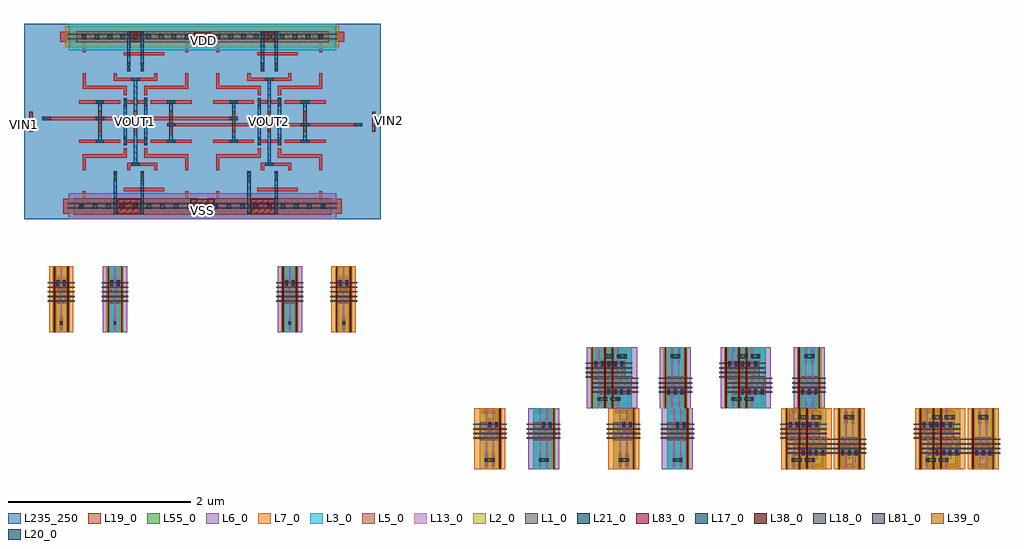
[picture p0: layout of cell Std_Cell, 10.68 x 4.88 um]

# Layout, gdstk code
from math import pi, radians
import gdstk
lib = gdstk.Library(unit=1e-6, precision=1e-09)
def R(c, l, rs):  # rectangles x0, y0, x1, y1
    for r in rs: c.add(gdstk.rectangle(r[:2], r[2:], *l))
def A(c, l, x, y, w, h, nx, ny, dx, dy):  # array of equal rectangles
    R(c, l, [(x+i*dx, y+j*dy, x+i*dx+w, y+j*dy+h) for i in range(nx) for j in range(ny)])
L1_0 = (1, 0)
L2_0 = (2, 0)
L3_0 = (3, 0)
L5_0 = (5, 0)
L6_0 = (6, 0)
L7_0 = (7, 0)
L13_0 = (13, 0)
L17_0 = (17, 0)
L18_0 = (18, 0)
L19_0 = (19, 0)
L20_0 = (20, 0)
L21_0 = (21, 0)
L38_0 = (38, 0)
L39_0 = (39, 0)
L55_0 = (55, 0)
L81_0 = (81, 0)
L83_0 = (83, 0)
L235_250 = (235, 250)

pfet_manual_l1r1_480f = lib.new_cell('pfet_manual_l1r1_480f')
A(pfet_manual_l1r1_480f, L1_0, -0.14, 0, 0.368, 0.014, 1, 4, 0, 0.05)
R(pfet_manual_l1r1_480f, L3_0, [(-0.067,-0.333,0.155,0.335)])
R(pfet_manual_l1r1_480f, L5_0, [(-0.067,-0.018,0,0.182), (0,-0.018,0.088,0.182), (0.088,-0.018,0.155,0.182)])
R(pfet_manual_l1r1_480f, L6_0, [(-0.126,-0.333,0.214,0.335)])
R(pfet_manual_l1r1_480f, L13_0, [(0,-0.333,0.014,0.335)])
R(pfet_manual_l1r1_480f, L17_0, [(0.029,0.125,0.059,0.182), (0.103,0.125,0.133,0.182)])
R(pfet_manual_l1r1_480f, L18_0, [(0,-0.254,0.044,-0.214), (0.034,-0.254,0.098,-0.214)])
R(pfet_manual_l1r1_480f, L19_0, [(-0.01,-0.308,0.024,-0.16), (-0.01,-0.308,0.024,-0.16), (0.064,-0.308,0.098,-0.16), (0.064,-0.308,0.098,-0.16), (0.101,0.074,0.135,0.276), (0.101,0.074,0.135,0.276), (0.027,0.076,0.061,0.224), (0.101,0.076,0.135,0.224), (0.027,0.08,0.061,0.22), (-0.047,0.276,0.044,0.31), (-0.047,0.276,0.044,0.31), (0.044,0.276,0.135,0.31), (0.044,0.276,0.135,0.31)])
R(pfet_manual_l1r1_480f, L55_0, [(-0.067,-0.333,0.155,0.335)])
R(pfet_manual_l1r1_480f, L81_0, [(-0.008,-0.249,0.022,-0.219), (0.066,-0.249,0.096,-0.219), (0.029,0.135,0.059,0.165), (0.103,0.135,0.133,0.165)])

pfet_manual_l1r0_480f = lib.new_cell('pfet_manual_l1r0_480f')
A(pfet_manual_l1r0_480f, L1_0, -0.14, 0, 0.368, 0.014, 1, 4, 0, 0.05)
R(pfet_manual_l1r0_480f, L2_0, [(0.136,-0.333,0.174,0.335)])
R(pfet_manual_l1r0_480f, L3_0, [(-0.067,-0.333,0.155,0.335)])
R(pfet_manual_l1r0_480f, L5_0, [(-0.067,-0.018,0,0.182), (0,-0.018,0.088,0.182), (0.088,-0.018,0.155,0.182)])
R(pfet_manual_l1r0_480f, L6_0, [(-0.126,-0.333,0.214,0.335)])
A(pfet_manual_l1r0_480f, L13_0, 0, -0.333, 0.014, 0.668, 3, 1, 0.074, 0)
R(pfet_manual_l1r0_480f, L13_0, [(0.148,-0.333,0.162,0.335)])
R(pfet_manual_l1r0_480f, L17_0, [(0.029,0.125,0.059,0.182), (0.103,0.125,0.133,0.182)])
R(pfet_manual_l1r0_480f, L18_0, [(0,-0.254,0.044,-0.214), (0.034,-0.254,0.098,-0.214)])
R(pfet_manual_l1r0_480f, L19_0, [(-0.01,-0.308,0.024,-0.16), (-0.01,-0.308,0.024,-0.16), (0.064,-0.308,0.098,-0.16), (0.064,-0.308,0.098,-0.16), (0.101,0.074,0.135,0.276), (0.101,0.074,0.135,0.276), (0.027,0.076,0.061,0.224), (0.101,0.076,0.135,0.224), (0.027,0.08,0.061,0.22), (-0.047,0.276,0.044,0.31), (-0.047,0.276,0.044,0.31), (0.044,0.276,0.135,0.31), (0.044,0.276,0.135,0.31)])
R(pfet_manual_l1r0_480f, L55_0, [(-0.067,-0.333,0.155,0.335)])
R(pfet_manual_l1r0_480f, L81_0, [(-0.008,-0.249,0.022,-0.219), (0.066,-0.249,0.096,-0.219), (0.029,0.135,0.059,0.165), (0.103,0.135,0.133,0.165)])
R(pfet_manual_l1r0_480f, L83_0, [(0.148,-0.333,0.162,0.335)])

nfet_pcell_0545 = lib.new_cell('nfet_pcell_0545')
A(nfet_pcell_0545, L1_0, -0.14, 0, 0.368, 0.014, 1, 4, 0, 0.05)
R(nfet_pcell_0545, L2_0, [(-0.086,-0.333,-0.048,0.335), (0.136,-0.333,0.174,0.335)])
R(nfet_pcell_0545, L5_0, [(-0.067,-0.018,0,0.182), (0,-0.018,0.088,0.182), (0.088,-0.018,0.155,0.182)])
R(nfet_pcell_0545, L7_0, [(-0.126,-0.333,0.214,0.335)])
A(nfet_pcell_0545, L13_0, -0.074, -0.333, 0.014, 0.668, 4, 1, 0.074, 0)
R(nfet_pcell_0545, L13_0, [(-0.074,-0.333,-0.06,0.335), (0.148,-0.333,0.162,0.335)])
A(nfet_pcell_0545, L17_0, -0.045, 0.125, 0.03, 0.057, 3, 1, 0.074, 0)
R(nfet_pcell_0545, L18_0, [(-0.01,-0.254,0.054,-0.214), (0.034,-0.254,0.098,-0.214)])
A(nfet_pcell_0545, L19_0, -0.047, 0.076, 0.034, 0.148, 3, 1, 0.074, 0)
R(nfet_pcell_0545, L19_0, [(-0.01,-0.308,0.024,-0.16), (-0.01,-0.308,0.024,-0.16), (0.064,-0.308,0.098,-0.16), (0.064,-0.308,0.098,-0.16), (-0.047,0.074,-0.013,0.276), (-0.047,0.074,-0.013,0.276), (0.101,0.074,0.135,0.276), (0.101,0.074,0.135,0.276), (0.027,0.08,0.061,0.22), (-0.047,0.276,0.044,0.31), (-0.047,0.276,0.044,0.31), (0.044,0.276,0.135,0.31), (0.044,0.276,0.135,0.31)])
R(nfet_pcell_0545, L55_0, [(-0.067,-0.333,0.155,0.335)])
A(nfet_pcell_0545, L81_0, -0.045, 0.135, 0.03, 0.03, 3, 1, 0.074, 0)
R(nfet_pcell_0545, L81_0, [(-0.008,-0.249,0.022,-0.219), (0.066,-0.249,0.096,-0.219)])
R(nfet_pcell_0545, L83_0, [(-0.074,-0.333,-0.06,0.335), (0.148,-0.333,0.162,0.335)])

nfet_manual_l1r1_0545 = lib.new_cell('nfet_manual_l1r1_0545')
A(nfet_manual_l1r1_0545, L1_0, -0.14, 0, 0.368, 0.014, 1, 4, 0, 0.05)
R(nfet_manual_l1r1_0545, L5_0, [(-0.067,-0.018,0,0.182), (0,-0.018,0.088,0.182), (0.088,-0.018,0.155,0.182)])
R(nfet_manual_l1r1_0545, L7_0, [(-0.126,-0.333,0.214,0.335)])
R(nfet_manual_l1r1_0545, L13_0, [(0,-0.333,0.014,0.335)])
R(nfet_manual_l1r1_0545, L17_0, [(0.029,0.125,0.059,0.182), (0.103,0.125,0.133,0.182)])
R(nfet_manual_l1r1_0545, L18_0, [(-0.01,-0.254,0.054,-0.214), (0.034,-0.254,0.098,-0.214)])
R(nfet_manual_l1r1_0545, L19_0, [(-0.01,-0.308,0.024,-0.16), (-0.01,-0.308,0.024,-0.16), (0.064,-0.308,0.098,-0.16), (0.064,-0.308,0.098,-0.16), (0.101,0.074,0.135,0.276), (0.101,0.074,0.135,0.276), (0.027,0.076,0.061,0.224), (0.101,0.076,0.135,0.224), (0.027,0.08,0.061,0.22), (-0.047,0.276,0.044,0.31), (-0.047,0.276,0.044,0.31), (0.044,0.276,0.135,0.31), (0.044,0.276,0.135,0.31)])
R(nfet_manual_l1r1_0545, L55_0, [(-0.067,-0.333,0.155,0.335)])
R(nfet_manual_l1r1_0545, L81_0, [(-0.008,-0.249,0.022,-0.219), (0.066,-0.249,0.096,-0.219), (0.029,0.135,0.059,0.165), (0.103,0.135,0.133,0.165)])

pfet_manual_l0r1_480f = lib.new_cell('pfet_manual_l0r1_480f')
A(pfet_manual_l0r1_480f, L1_0, -0.14, 0, 0.368, 0.014, 1, 4, 0, 0.05)
R(pfet_manual_l0r1_480f, L2_0, [(-0.086,-0.333,-0.048,0.335)])
R(pfet_manual_l0r1_480f, L3_0, [(-0.067,-0.333,0.155,0.335)])
R(pfet_manual_l0r1_480f, L5_0, [(-0.067,-0.018,0,0.182), (0,-0.018,0.088,0.182), (0.088,-0.018,0.155,0.182)])
R(pfet_manual_l0r1_480f, L6_0, [(-0.126,-0.333,0.214,0.335)])
R(pfet_manual_l0r1_480f, L13_0, [(-0.074,-0.333,-0.06,0.335), (-0.074,-0.333,-0.06,0.335), (0,-0.333,0.014,0.335)])
A(pfet_manual_l0r1_480f, L17_0, -0.045, 0.125, 0.03, 0.057, 3, 1, 0.074, 0)
R(pfet_manual_l0r1_480f, L18_0, [(0,-0.254,0.044,-0.214), (0.034,-0.254,0.098,-0.214)])
A(pfet_manual_l0r1_480f, L19_0, -0.047, 0.076, 0.034, 0.148, 3, 1, 0.074, 0)
R(pfet_manual_l0r1_480f, L19_0, [(-0.01,-0.308,0.024,-0.16), (-0.01,-0.308,0.024,-0.16), (0.064,-0.308,0.098,-0.16), (0.064,-0.308,0.098,-0.16), (-0.047,0.074,-0.013,0.276), (-0.047,0.074,-0.013,0.276), (0.101,0.074,0.135,0.276), (0.101,0.074,0.135,0.276), (0.027,0.08,0.061,0.22), (-0.047,0.276,0.044,0.31), (-0.047,0.276,0.044,0.31), (0.044,0.276,0.135,0.31), (0.044,0.276,0.135,0.31)])
R(pfet_manual_l0r1_480f, L55_0, [(-0.067,-0.333,0.155,0.335)])
A(pfet_manual_l0r1_480f, L81_0, -0.045, 0.135, 0.03, 0.03, 3, 1, 0.074, 0)
R(pfet_manual_l0r1_480f, L81_0, [(-0.008,-0.249,0.022,-0.219), (0.066,-0.249,0.096,-0.219)])
R(pfet_manual_l0r1_480f, L83_0, [(-0.074,-0.333,-0.06,0.335)])

nfet_manual_l0r1_0545 = lib.new_cell('nfet_manual_l0r1_0545')
A(nfet_manual_l0r1_0545, L1_0, -0.14, 0, 0.368, 0.014, 1, 4, 0, 0.05)
R(nfet_manual_l0r1_0545, L2_0, [(-0.086,-0.333,-0.048,0.335)])
R(nfet_manual_l0r1_0545, L5_0, [(-0.067,-0.018,0,0.182), (0,-0.018,0.088,0.182), (0.088,-0.018,0.155,0.182)])
R(nfet_manual_l0r1_0545, L7_0, [(-0.126,-0.333,0.214,0.335)])
R(nfet_manual_l0r1_0545, L13_0, [(-0.074,-0.333,-0.06,0.335), (-0.074,-0.333,-0.06,0.335), (0,-0.333,0.014,0.335)])
A(nfet_manual_l0r1_0545, L17_0, -0.045, 0.125, 0.03, 0.057, 3, 1, 0.074, 0)
R(nfet_manual_l0r1_0545, L18_0, [(-0.01,-0.254,0.054,-0.214), (0.034,-0.254,0.098,-0.214)])
A(nfet_manual_l0r1_0545, L19_0, -0.047, 0.076, 0.034, 0.148, 3, 1, 0.074, 0)
R(nfet_manual_l0r1_0545, L19_0, [(-0.01,-0.308,0.024,-0.16), (-0.01,-0.308,0.024,-0.16), (0.064,-0.308,0.098,-0.16), (0.064,-0.308,0.098,-0.16), (-0.047,0.074,-0.013,0.276), (-0.047,0.074,-0.013,0.276), (0.101,0.074,0.135,0.276), (0.101,0.074,0.135,0.276), (0.027,0.08,0.061,0.22), (-0.047,0.276,0.044,0.31), (-0.047,0.276,0.044,0.31), (0.044,0.276,0.135,0.31), (0.044,0.276,0.135,0.31)])
R(nfet_manual_l0r1_0545, L55_0, [(-0.067,-0.333,0.155,0.335)])
A(nfet_manual_l0r1_0545, L81_0, -0.045, 0.135, 0.03, 0.03, 3, 1, 0.074, 0)
R(nfet_manual_l0r1_0545, L81_0, [(-0.008,-0.249,0.022,-0.219), (0.066,-0.249,0.096,-0.219)])
R(nfet_manual_l0r1_0545, L83_0, [(-0.074,-0.333,-0.06,0.335)])

nfet_manual_l1r0_0545 = lib.new_cell('nfet_manual_l1r0_0545')
A(nfet_manual_l1r0_0545, L1_0, -0.14, 0, 0.368, 0.014, 1, 4, 0, 0.05)
R(nfet_manual_l1r0_0545, L2_0, [(0.136,-0.333,0.174,0.335)])
R(nfet_manual_l1r0_0545, L5_0, [(-0.067,-0.018,0,0.182), (0,-0.018,0.088,0.182), (0.088,-0.018,0.155,0.182)])
R(nfet_manual_l1r0_0545, L7_0, [(-0.126,-0.333,0.214,0.335)])
A(nfet_manual_l1r0_0545, L13_0, 0, -0.333, 0.014, 0.668, 3, 1, 0.074, 0)
R(nfet_manual_l1r0_0545, L13_0, [(0.148,-0.333,0.162,0.335)])
R(nfet_manual_l1r0_0545, L17_0, [(0.029,0.125,0.059,0.182), (0.103,0.125,0.133,0.182)])
R(nfet_manual_l1r0_0545, L18_0, [(-0.01,-0.254,0.054,-0.214), (0.034,-0.254,0.098,-0.214)])
R(nfet_manual_l1r0_0545, L19_0, [(-0.01,-0.308,0.024,-0.16), (-0.01,-0.308,0.024,-0.16), (0.064,-0.308,0.098,-0.16), (0.064,-0.308,0.098,-0.16), (0.101,0.074,0.135,0.276), (0.101,0.074,0.135,0.276), (0.027,0.076,0.061,0.224), (0.101,0.076,0.135,0.224), (0.027,0.08,0.061,0.22), (-0.047,0.276,0.044,0.31), (-0.047,0.276,0.044,0.31), (0.044,0.276,0.135,0.31), (0.044,0.276,0.135,0.31)])
R(nfet_manual_l1r0_0545, L55_0, [(-0.067,-0.333,0.155,0.335)])
R(nfet_manual_l1r0_0545, L81_0, [(-0.008,-0.249,0.022,-0.219), (0.066,-0.249,0.096,-0.219), (0.029,0.135,0.059,0.165), (0.103,0.135,0.133,0.165)])
R(nfet_manual_l1r0_0545, L83_0, [(0.148,-0.333,0.162,0.335)])

pfet_pcell_480f = lib.new_cell('pfet_pcell_480f')
A(pfet_pcell_480f, L1_0, -0.14, 0, 0.368, 0.014, 1, 4, 0, 0.05)
R(pfet_pcell_480f, L2_0, [(-0.086,-0.333,-0.048,0.335), (0.136,-0.333,0.174,0.335)])
R(pfet_pcell_480f, L3_0, [(-0.067,-0.333,0.155,0.335)])
R(pfet_pcell_480f, L5_0, [(-0.067,-0.018,0,0.182), (0,-0.018,0.088,0.182), (0.088,-0.018,0.155,0.182)])
R(pfet_pcell_480f, L6_0, [(-0.126,-0.333,0.214,0.335)])
A(pfet_pcell_480f, L13_0, -0.074, -0.333, 0.014, 0.668, 4, 1, 0.074, 0)
R(pfet_pcell_480f, L13_0, [(-0.074,-0.333,-0.06,0.335), (0.148,-0.333,0.162,0.335)])
A(pfet_pcell_480f, L17_0, -0.045, 0.125, 0.03, 0.057, 3, 1, 0.074, 0)
R(pfet_pcell_480f, L18_0, [(0,-0.254,0.044,-0.214), (0.034,-0.254,0.098,-0.214)])
A(pfet_pcell_480f, L19_0, -0.047, 0.076, 0.034, 0.148, 3, 1, 0.074, 0)
R(pfet_pcell_480f, L19_0, [(-0.01,-0.308,0.024,-0.16), (-0.01,-0.308,0.024,-0.16), (0.064,-0.308,0.098,-0.16), (0.064,-0.308,0.098,-0.16), (-0.047,0.074,-0.013,0.276), (-0.047,0.074,-0.013,0.276), (0.101,0.074,0.135,0.276), (0.101,0.074,0.135,0.276), (0.027,0.08,0.061,0.22), (-0.047,0.276,0.044,0.31), (-0.047,0.276,0.044,0.31), (0.044,0.276,0.135,0.31), (0.044,0.276,0.135,0.31)])
R(pfet_pcell_480f, L55_0, [(-0.067,-0.333,0.155,0.335)])
A(pfet_pcell_480f, L81_0, -0.045, 0.135, 0.03, 0.03, 3, 1, 0.074, 0)
R(pfet_pcell_480f, L81_0, [(-0.008,-0.249,0.022,-0.219), (0.066,-0.249,0.096,-0.219)])
R(pfet_pcell_480f, L83_0, [(-0.074,-0.333,-0.06,0.335), (0.148,-0.333,0.162,0.335)])

via12_stdvia_4391 = lib.new_cell('VIA12_stdvia_4391')
R(via12_stdvia_4391, L19_0, [(-0.045,-0.017,0.045,0.017)])
R(via12_stdvia_4391, L20_0, [(-0.015,-0.015,0.015,0.015)])
R(via12_stdvia_4391, L21_0, [(-0.045,-0.017,0.045,0.017)])

xor = lib.new_cell('Xor')
R(xor, L1_0, [(-2.815,2.518,-1.323,2.532), (-2.815,2.568,-1.323,2.582), (-2.815,4.368,-1.323,4.382), (-2.815,4.418,-1.323,4.432)])
A(xor, L17_0, -2.683, 2.517, 0.05, 0.05, 4, 1, 0.147, 0)
A(xor, L17_0, -1.946, 2.517, 0.05, 0.05, 4, 1, 0.147, 0)
A(xor, L17_0, -2.517, 4.372, 0.05, 0.05, 7, 1, 0.141, 0)
R(xor, L17_0, [(-2.094,2.517,-2.044,2.567), (-2.657,4.372,-2.607,4.422), (-1.531,4.372,-1.481,4.422)])
R(xor, L19_0, [(-2.648,2.625,-2.614,2.71), (-1.524,2.625,-1.49,2.71), (-2.2,2.71,-1.756,2.744), (-2.648,2.94,-2.614,3.076), (-2.16,2.94,-2.126,3.022), (-1.864,2.94,-1.83,3.022), (-1.524,2.94,-1.49,3.076), (-2.126,2.988,-1.864,3.022), (-2.648,3.076,-2.197,3.11), (-2.197,3.076,-2.163,3.18), (-1.975,3.076,-1.941,3.18), (-1.941,3.076,-1.49,3.11), (-2.685,3.237,-2.237,3.271), (-2.197,3.237,-2.089,3.271), (-2.049,3.237,-1.941,3.271), (-1.901,3.237,-1.453,3.271), (-2.197,3.663,-2.089,3.704), (-2.049,3.663,-1.941,3.704), (-2.685,3.667,-2.237,3.701), (-1.901,3.667,-1.453,3.701), (-2.197,3.758,-2.163,3.862), (-1.975,3.758,-1.941,3.862), (-2.648,3.828,-2.197,3.862), (-1.941,3.828,-1.49,3.862), (-2.648,3.862,-2.614,3.998), (-1.524,3.862,-1.49,3.998), (-2.308,3.916,-2.274,3.998), (-2.308,3.916,-2.274,3.998), (-2.274,3.916,-1.864,3.95), (-1.864,3.916,-1.83,3.998), (-2.2,4.194,-1.756,4.228), (-2.648,4.228,-2.614,4.343), (-1.524,4.228,-1.49,4.343)])
R(xor, L21_0, [(-2.308,2.459,-2.274,2.924), (-2.012,2.459,-1.978,2.924), (-2.086,2.988,-2.052,3.95), (-2.197,3.209,-2.163,3.727), (-1.975,3.209,-1.941,3.729), (-2.477,3.237,-2.441,3.701), (-1.697,3.237,-1.661,3.701), (-2.16,4.023,-2.126,4.451), (-2.012,4.023,-1.978,4.451)])
R(xor, L38_0, [(-2.274,2.459,-2.012,2.625), (-2.126,4.343,-2.012,4.451)])
R(xor, L39_0, [(-2.477,3.353,-2.441,3.585), (-2.086,3.353,-2.052,3.585), (-1.697,3.353,-1.661,3.585)])
R(xor, L81_0, [(-2.673,2.527,-2.643,2.557), (-1.495,2.527,-1.465,2.557), (-2.647,4.382,-2.617,4.412), (-1.523,4.382,-1.493,4.412)])
R(xor, L235_250, [(-2.801,2.399,-1.337,4.541)])
xor.add(gdstk.FlexPath([(-2.657,4.397),(-1.481,4.397)], 0.288, ends="extended", simple_path=True, layer=3, datatype=0))  # L3_0
xor.add(gdstk.FlexPath([(-2.657,4.397),(-1.481,4.397)], 0.108, ends="extended", simple_path=True, layer=19, datatype=0))  # L19_0
xor.add(gdstk.FlexPath([(-2.658,2.542),(-1.48,2.542)], 0.166, ends="extended", simple_path=True, layer=19, datatype=0))  # L19_0
xor.add(gdstk.FlexPath([(-2.658,2.542),(-1.48,2.542)], 0.178, ends="extended", simple_path=True, layer=5, datatype=0))  # L5_0
xor.add(gdstk.FlexPath([(-2.657,4.397),(-1.481,4.397)], 0.12, ends="extended", simple_path=True, layer=5, datatype=0))  # L5_0
xor.add(gdstk.FlexPath([(-2.657,4.397),(-1.481,4.397)], 0.228, ends="extended", simple_path=True, layer=7, datatype=0))  # L7_0
xor.add(gdstk.FlexPath([(-2.658,2.542),(-1.48,2.542)], 0.286, ends="extended", simple_path=True, layer=6, datatype=0))  # L6_0
xor.add(gdstk.Reference(pfet_manual_l1r1_480f, (3.206,0.668), x_reflection=True))
xor.add(gdstk.Reference(pfet_manual_l1r1_480f, (3.066,0.668), x_reflection=True))
xor.add(gdstk.Reference(pfet_manual_l1r0_480f, (2.352,0)))
xor.add(gdstk.Reference(nfet_pcell_0545, (5.698,0), x_reflection=True))
xor.add(gdstk.Reference(nfet_pcell_0545, (5.124,0)))
xor.add(gdstk.Reference(nfet_manual_l1r1_0545, (5.194,0), x_reflection=True))
xor.add(gdstk.Reference(nfet_manual_l1r1_0545, (5.334,0), x_reflection=True))
xor.add(gdstk.Reference(pfet_manual_l0r1_480f, (3.136,0.668)))
xor.add(gdstk.Reference(nfet_manual_l0r1_0545, (5.264,0)))
xor.add(gdstk.Reference(nfet_manual_l1r0_0545, (1.764,0)))
xor.add(gdstk.Reference(pfet_pcell_480f, (2.996,0.668)))
xor.add(gdstk.Reference(pfet_pcell_480f, (3.794,0.668), x_reflection=True))
xor.add(gdstk.Reference(via12_stdvia_4391, (-1.995,4.068), rotation=3*pi/2))
xor.add(gdstk.Reference(via12_stdvia_4391, (-2.069,3.933), rotation=pi))
xor.add(gdstk.Reference(via12_stdvia_4391, (-1.995,2.87), rotation=3*pi/2))
xor.add(gdstk.Reference(via12_stdvia_4391, (-2.18,3.682), rotation=pi/2))
xor.add(gdstk.Reference(via12_stdvia_4391, (-2.18,3.254), rotation=pi/2))
xor.add(gdstk.Reference(via12_stdvia_4391, (-2.291,2.541), rotation=3*pi/2))
xor.add(gdstk.Reference(via12_stdvia_4391, (-1.958,3.254), rotation=pi/2))
xor.add(gdstk.Reference(via12_stdvia_4391, (-2.459,3.254), rotation=pi))
xor.add(gdstk.Reference(via12_stdvia_4391, (-1.995,4.397), rotation=3*pi/2))
xor.add(gdstk.Reference(via12_stdvia_4391, (-2.143,4.397), rotation=3*pi/2))
xor.add(gdstk.Reference(via12_stdvia_4391, (-1.995,2.541), rotation=3*pi/2))
xor.add(gdstk.Reference(via12_stdvia_4391, (-1.958,3.684), rotation=pi/2))
xor.add(gdstk.Reference(via12_stdvia_4391, (-1.679,3.684), x_reflection=True))
xor.add(gdstk.Reference(via12_stdvia_4391, (-2.459,3.684), rotation=pi))
xor.add(gdstk.Reference(via12_stdvia_4391, (-2.291,2.87), rotation=3*pi/2))
xor.add(gdstk.Reference(via12_stdvia_4391, (-2.069,3.005), rotation=pi))
xor.add(gdstk.Reference(via12_stdvia_4391, (-1.679,3.254), x_reflection=True))
xor.add(gdstk.Reference(via12_stdvia_4391, (-2.143,4.068), rotation=3*pi/2))
xor.add(gdstk.Label('VDD', (-2.052,4.465), layer=38, texttype=0))
xor.add(gdstk.Label('VSS', (-2.143,2.599), layer=38, texttype=0))
xor.add(gdstk.Label('A', (-2.633,3.482), layer=39, texttype=0))
xor.add(gdstk.Label('OUT', (-2.063,3.486), layer=39, texttype=0))
xor.add(gdstk.Label('B', (-1.503,3.483), layer=39, texttype=0))

nfet_pcell_9073 = lib.new_cell('nfet_pcell_9073')
A(nfet_pcell_9073, L1_0, -0.14, 0, 0.294, 0.014, 1, 5, 0, 0.05)
R(nfet_pcell_9073, L2_0, [(-0.086,-0.333,-0.048,0.385), (0.062,-0.333,0.1,0.385)])
R(nfet_pcell_9073, L5_0, [(-0.067,-0.018,0,0.232), (0,-0.018,0.014,0.232), (0.014,-0.018,0.081,0.232)])
R(nfet_pcell_9073, L7_0, [(-0.126,-0.333,0.14,0.385)])
A(nfet_pcell_9073, L13_0, -0.074, -0.333, 0.014, 0.718, 3, 1, 0.074, 0)
R(nfet_pcell_9073, L13_0, [(-0.074,-0.333,-0.06,0.385), (0.074,-0.333,0.088,0.385)])
R(nfet_pcell_9073, L17_0, [(-0.045,0.175,-0.015,0.232), (0.029,0.175,0.059,0.232)])
R(nfet_pcell_9073, L18_0, [(-0.01,-0.254,0.024,-0.214)])
R(nfet_pcell_9073, L19_0, [(-0.01,-0.308,0.024,-0.16), (-0.01,-0.308,0.024,-0.16), (-0.047,0.124,-0.013,0.276), (-0.047,0.126,-0.013,0.274), (0.027,0.126,0.061,0.274), (0.027,0.13,0.061,0.27)])
R(nfet_pcell_9073, L55_0, [(-0.067,-0.333,0.081,0.385)])
R(nfet_pcell_9073, L81_0, [(-0.008,-0.249,0.022,-0.219), (-0.045,0.185,-0.015,0.215), (0.029,0.185,0.059,0.215)])
R(nfet_pcell_9073, L83_0, [(-0.074,-0.333,-0.06,0.385), (0.074,-0.333,0.088,0.385)])

pfet_pcell_9f77 = lib.new_cell('pfet_pcell_9f77')
A(pfet_pcell_9f77, L1_0, -0.14, 0, 0.294, 0.014, 1, 5, 0, 0.05)
R(pfet_pcell_9f77, L2_0, [(-0.086,-0.333,-0.048,0.385), (0.062,-0.333,0.1,0.385)])
R(pfet_pcell_9f77, L3_0, [(-0.067,-0.333,0.081,0.385)])
R(pfet_pcell_9f77, L5_0, [(-0.067,-0.018,0,0.232), (0,-0.018,0.014,0.232), (0.014,-0.018,0.081,0.232)])
R(pfet_pcell_9f77, L6_0, [(-0.126,-0.333,0.14,0.385)])
A(pfet_pcell_9f77, L13_0, -0.074, -0.333, 0.014, 0.718, 3, 1, 0.074, 0)
R(pfet_pcell_9f77, L13_0, [(-0.074,-0.333,-0.06,0.385), (0.074,-0.333,0.088,0.385)])
R(pfet_pcell_9f77, L17_0, [(-0.045,0.175,-0.015,0.232), (0.029,0.175,0.059,0.232)])
R(pfet_pcell_9f77, L18_0, [(0,-0.254,0.014,-0.214)])
R(pfet_pcell_9f77, L19_0, [(-0.01,-0.308,0.024,-0.16), (-0.01,-0.308,0.024,-0.16), (-0.047,0.124,-0.013,0.276), (-0.047,0.126,-0.013,0.274), (0.027,0.126,0.061,0.274), (0.027,0.13,0.061,0.27)])
R(pfet_pcell_9f77, L55_0, [(-0.067,-0.333,0.081,0.385)])
R(pfet_pcell_9f77, L81_0, [(-0.008,-0.249,0.022,-0.219), (-0.045,0.185,-0.015,0.215), (0.029,0.185,0.059,0.215)])
R(pfet_pcell_9f77, L83_0, [(-0.074,-0.333,-0.06,0.385), (0.074,-0.333,0.088,0.385)])

inverter = lib.new_cell('Inverter')
inverter.add(gdstk.Reference(nfet_pcell_9073, (1.47,0)))
inverter.add(gdstk.Reference(pfet_pcell_9f77, (2.058,0)))

std_cell = lib.new_cell('Std_Cell')
A(std_cell, L7_0, 3.088, 11.683, 0.06, 0.228, 3, 1, 1.464, 0)
R(std_cell, L19_0, [(3.058,9.859,6.106,10.025), (4.224,10.819,6.305,10.853), (2.859,10.886,4.942,10.92), (3.028,11.743,6.136,11.851)])
R(std_cell, L38_0, [(4.454,9.859,4.71,10.025), (2.69,10.758,2.724,10.98), (6.44,10.758,6.474,10.98), (4.492,11.743,4.672,11.851)])
R(std_cell, L39_0, [(3.833,10.753,3.867,10.985), (5.297,10.753,5.331,10.985)])
R(std_cell, L235_250, [(2.63,9.799,6.534,11.941)])
std_cell.add(gdstk.Reference(xor, (7.383,7.4)))
std_cell.add(gdstk.Reference(xor, (5.919,7.4)))
std_cell.add(gdstk.Reference(inverter, (7.604,8.9), rotation=pi, x_reflection=True))
std_cell.add(gdstk.Reference(inverter, (1.56,8.9)))
std_cell.add(gdstk.Reference(via12_stdvia_4391, (2.876,10.903), rotation=pi))
std_cell.add(gdstk.Reference(via12_stdvia_4391, (6.288,10.836), rotation=pi))
std_cell.add(gdstk.Reference(via12_stdvia_4391, (4.924,10.903), rotation=pi))
std_cell.add(gdstk.Reference(via12_stdvia_4391, (3.462,10.903), rotation=pi))
std_cell.add(gdstk.Reference(via12_stdvia_4391, (4.242,10.836), rotation=pi))
std_cell.add(gdstk.Reference(via12_stdvia_4391, (5.704,10.836), rotation=pi))
std_cell.add(gdstk.Label('VOUT2', (5.314,10.869), layer=39, texttype=0))
std_cell.add(gdstk.Label('VOUT1', (3.85,10.869), layer=39, texttype=0))
std_cell.add(gdstk.Label('VSS', (4.582,9.902), layer=38, texttype=0))
std_cell.add(gdstk.Label('VDD', (4.589,11.753), layer=38, texttype=0))
std_cell.add(gdstk.Label('VIN2', (6.634,10.886), layer=38, texttype=0))
std_cell.add(gdstk.Label('VIN1', (2.638,10.839), layer=38, texttype=0))

lib.write_gds('Std_Cell.gds')
